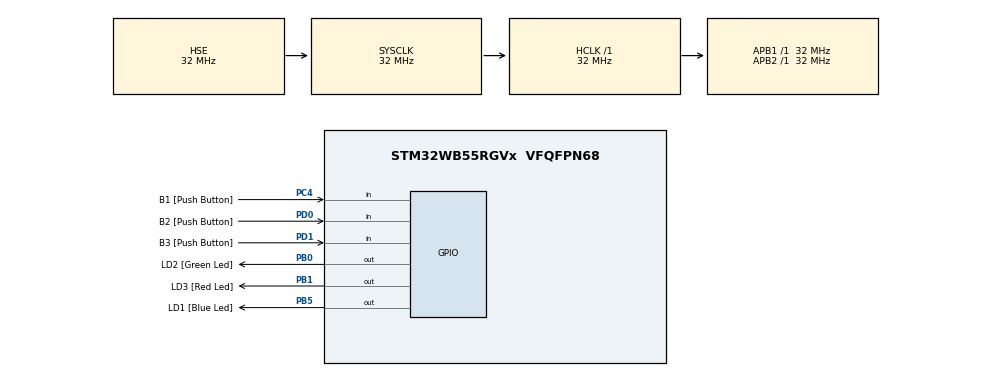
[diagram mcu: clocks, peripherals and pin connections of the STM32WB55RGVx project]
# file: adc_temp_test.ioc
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ADC1.Channel-0\#ChannelRegularConversion=ADC_CHANNEL_TEMPSENSOR
ADC1.NbrOfConversionFlag=1
ADC1.OffsetNumber-0\#ChannelRegularConversion=ADC_OFFSET_NONE
ADC1.Rank-0\#ChannelRegularConversion=1
ADC1.SamplingTime-0\#ChannelRegularConversion=ADC_SAMPLETIME_640CYCLES_5
ADC1.master=1
Mcu.Family=STM32WB
Mcu.Name=STM32WB55RGVx
Mcu.Package=VFQFPN68
NVIC.PriorityGroup=NVIC_PRIORITYGROUP_4
OSC_IN.GPIO_Label=RCC_OSC_IN
OSC_IN.Mode=HSE-External-Oscillator
OSC_IN.Signal=RCC_OSC_IN
OSC_OUT.GPIO_Label=RCC_OSC_OUT
OSC_OUT.Mode=HSE-External-Oscillator
OSC_OUT.Signal=RCC_OSC_OUT
PA11.GPIO_Label=USB_DM
PA11.Signal=USB_DM
PA12.GPIO_Label=USB_DP
PA12.Signal=USB_DP
PA13.GPIO_Label=JTMS
PA13.Mode=Serial_Wire
PA13.Signal=SYS_JTMS-SWDIO
PA14.GPIO_Label=JTCK
PA14.Mode=Serial_Wire
PA14.Signal=SYS_JTCK-SWCLK
PB0.GPIO_Label=LD2 [Green Led]
PB0.Signal=GPIO_Output
PB1.GPIO_Label=LD3 [Red Led]
PB1.Signal=GPIO_Output
PB3.GPIO_Label=JTDO
PB3.Signal=SYS_JTDO-SWO
PB5.GPIO_Label=LD1 [Blue Led]
PB5.Signal=GPIO_Output
PB6.GPIO_Label=STLINK_RX
PB6.Signal=USART1_TX
PB7.GPIO_Label=STLINK_TX
PB7.Signal=USART1_RX
PC13.GPIO_Label=SYS_WKUP2
PC13.Signal=SYS_WKUP2
PC14-OSC32_IN.GPIO_Label=RCC_OSC32_IN
PC14-OSC32_IN.Signal=RCC_OSC32_IN
PC15-OSC32_OUT.GPIO_Label=RCC_OSC32_OUT
PC15-OSC32_OUT.Signal=RCC_OSC32_OUT
PC4.GPIO_Label=B1 [Push Button]
PC4.Signal=GPIO_Input
PD0.GPIO_Label=B2 [Push Button]
PD0.Signal=GPIO_Input
PD1.GPIO_Label=B3 [Push Button]
PD1.Signal=GPIO_Input
ProjectManager.HeapSize=0x200
ProjectManager.StackSize=0x400
ProjectManager.TargetToolchain=STM32CubeIDE
RCC.ADCCLockSelection=RCC_ADCCLKSOURCE_SYSCLK
RCC.ADCFreq_Value=32000000
RCC.AHBFreq_Value=32000000
RCC.APB1Freq_Value=32000000
RCC.APB1TimFreq_Value=32000000
RCC.APB2Freq_Value=32000000
RCC.APB2TimFreq_Value=32000000
RCC.APB3Freq_Value=16000000
RCC.CortexFreq_Value=32000000
RCC.HCLKFreq_Value=32000000
RCC.HSE_VALUE=32000000
RCC.HSI48_VALUE=48000000
RCC.HSI_VALUE=16000000
RCC.LSE_VALUE=32768
RCC.MSIClockRange=RCC_MSIRANGE_10
RCC.PLLM=RCC_PLLM_DIV2
RCC.PLLSourceVirtual=RCC_PLLSOURCE_HSE
RCC.SMPSCLockSelection=RCC_SMPSCLKSOURCE_HSI
RCC.SMPSCLockSelectionVirtual=RCC_SMPSCLKSOURCE_HSI
RCC.SMPSCLockSelectionVirtualVirtual=RCC_SMPSCLKSOURCE_HSI
RCC.SMPSDivider=1
RCC.SYSCLKFreq_VALUE=32000000
RCC.SYSCLKSource=RCC_SYSCLKSOURCE_HSE
RCC.USBFreq_Value=64000000
RCC.VCOOutputFreq_Value=128000000
VP_ADC1_TempSens_Input.Mode=IN-TempSens
VP_MEMORYMAP_VS_MEMORYMAP.Mode=CurAppReg
board=NUCLEO-WB55RG

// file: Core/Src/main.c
/* USER CODE BEGIN Header */
/**
  ******************************************************************************
  * @file           : main.c
  * @brief          : Main program body
  ******************************************************************************
  * @attention
  *
  * Copyright (c) 2025 STMicroelectronics.
  * All rights reserved.
  *
  * This software is licensed under terms that can be found in the LICENSE file
  * in the root directory of this software component.
  * If no LICENSE file comes with this software, it is provided AS-IS.
  *
  ******************************************************************************
  */
/* USER CODE END Header */
#include "main.h"

/* USER CODE BEGIN PM */
#define N_SAMPLES 15
/* USER CODE END PM */

ADC_HandleTypeDef hadc1;

void SystemClock_Config(void);
void PeriphCommonClock_Config(void);
static void MX_GPIO_Init(void);
static void MX_ADC1_Init(void);

/* USER CODE BEGIN 0 */
uint16_t calculate_average(uint16_t* values,uint32_t len)
{
	int32_t sum=0;
	for (int i = 0; i < len; i++)
	{
		  sum+=values[i];
	}
	return (uint16_t)sum/len;
}

//int32_t calculate_temperature(uint16_t raw_value)
//{
////	const uint16_t* TS_CAL1_ADR = (uint16_t*)0x1FFF75A8;
////	const uint16_t* TS_CAL2_ADR = (uint16_t*)0x1FFF75CA;
////
////	const int32_t TS_CAL1 = (int32_t)(*TS_CAL1_ADR);
////	const int32_t TS_CAL2 = (int32_t)(*TS_CAL2_ADR);
////
////	const int32_t TS_CAL_1_TEMP = 30;
////	const int32_t TS_CAL2_TEMP = 110;
////
////	float shifted_value = (float)raw_value*3.3f/3.0f;
////
////	float nominator = (TS_CAL2_TEMP-TS_CAL_1_TEMP) * (shifted_value-TS_CAL1);
////	float denominator = TS_CAL2 - TS_CAL1;
////
////	int32_t temp = (int32_t)(nominator/denominator + (float)TS_CAL_1_TEMP);
////	return temp;
//
//}

int32_t calculate_temperature(uint16_t raw_value)
{
	uint16_t temp_mv = (3000*raw_value)/4096;
	int32_t retval = (int32_t)(1.22f*temp_mv-785)/2.5f + 30;
	return retval;

}

/* USER CODE END 0 */

int main(void)
{

  /* USER CODE BEGIN 1 */
	uint16_t raw_values[N_SAMPLES] = {0};

	//HAL_ADCEx_Calibration_Start(&hadc1, ADC_SINGLE_ENDED);

  /* USER CODE END 1 */

  /* MCU Configuration--------------------------------------------------------*/

  /* Reset of all peripherals, Initializes the Flash interface and the Systick. */
  HAL_Init();

  /* Configure the system clock */
  SystemClock_Config();

  /* Configure the peripherals common clocks */
  PeriphCommonClock_Config();

  /* Initialize all configured peripherals */
  MX_GPIO_Init();
  MX_ADC1_Init();

  /* Infinite loop */
  /* USER CODE BEGIN WHILE */
  while (1)
  {
	  for (int i = 0; i < N_SAMPLES; i++)
	  {
		  HAL_ADC_Start(&hadc1);
		  HAL_ADC_PollForConversion(&hadc1, HAL_MAX_DELAY);
		  raw_values[i] = HAL_ADC_GetValue(&hadc1);
		  HAL_ADC_Stop(&hadc1);
	  }
	  uint16_t average = calculate_average(raw_values,N_SAMPLES);
	  int32_t temperature = calculate_temperature(average);

    /* USER CODE END WHILE */

  }
}

void SystemClock_Config(void)
{
  RCC_OscInitTypeDef RCC_OscInitStruct = {0};
  RCC_ClkInitTypeDef RCC_ClkInitStruct = {0};

  /** Configure the main internal regulator output voltage
  */
  __HAL_PWR_VOLTAGESCALING_CONFIG(PWR_REGULATOR_VOLTAGE_SCALE1);

  /** Initializes the RCC Oscillators according to the specified parameters
  * in the RCC_OscInitTypeDef structure.
  */
  RCC_OscInitStruct.OscillatorType = RCC_OSCILLATORTYPE_HSI|RCC_OSCILLATORTYPE_HSE;
  RCC_OscInitStruct.HSEState = RCC_HSE_ON;
  RCC_OscInitStruct.HSIState = RCC_HSI_ON;
  RCC_OscInitStruct.HSICalibrationValue = RCC_HSICALIBRATION_DEFAULT;
  RCC_OscInitStruct.PLL.PLLState = RCC_PLL_NONE;
  if (HAL_RCC_OscConfig(&RCC_OscInitStruct) != HAL_OK)
  {
    Error_Handler();
  }

  /** Configure the SYSCLKSource, HCLK, PCLK1 and PCLK2 clocks dividers
  */
  RCC_ClkInitStruct.ClockType = RCC_CLOCKTYPE_HCLK4|RCC_CLOCKTYPE_HCLK2
                              |RCC_CLOCKTYPE_HCLK|RCC_CLOCKTYPE_SYSCLK
                              |RCC_CLOCKTYPE_PCLK1|RCC_CLOCKTYPE_PCLK2;
  RCC_ClkInitStruct.SYSCLKSource = RCC_SYSCLKSOURCE_HSE;
  RCC_ClkInitStruct.AHBCLKDivider = RCC_SYSCLK_DIV1;
  RCC_ClkInitStruct.APB1CLKDivider = RCC_HCLK_DIV1;
  RCC_ClkInitStruct.APB2CLKDivider = RCC_HCLK_DIV1;
  RCC_ClkInitStruct.AHBCLK2Divider = RCC_SYSCLK_DIV1;
  RCC_ClkInitStruct.AHBCLK4Divider = RCC_SYSCLK_DIV1;

  if (HAL_RCC_ClockConfig(&RCC_ClkInitStruct, FLASH_LATENCY_1) != HAL_OK)
  {
    Error_Handler();
  }
}

void PeriphCommonClock_Config(void)
{
  RCC_PeriphCLKInitTypeDef PeriphClkInitStruct = {0};

  /** Initializes the peripherals clock
  */
  PeriphClkInitStruct.PeriphClockSelection = RCC_PERIPHCLK_SMPS;
  PeriphClkInitStruct.SmpsClockSelection = RCC_SMPSCLKSOURCE_HSI;
  PeriphClkInitStruct.SmpsDivSelection = RCC_SMPSCLKDIV_RANGE0;

  if (HAL_RCCEx_PeriphCLKConfig(&PeriphClkInitStruct) != HAL_OK)
  {
    Error_Handler();
  }
}

static void MX_ADC1_Init(void)
{

  ADC_ChannelConfTypeDef sConfig = {0};

  /** Common config
  */
  hadc1.Instance = ADC1;
  hadc1.Init.ClockPrescaler = ADC_CLOCK_ASYNC_DIV1;
  hadc1.Init.Resolution = ADC_RESOLUTION_12B;
  hadc1.Init.DataAlign = ADC_DATAALIGN_RIGHT;
  hadc1.Init.ScanConvMode = ADC_SCAN_DISABLE;
  hadc1.Init.EOCSelection = ADC_EOC_SINGLE_CONV;
  hadc1.Init.LowPowerAutoWait = DISABLE;
  hadc1.Init.ContinuousConvMode = DISABLE;
  hadc1.Init.NbrOfConversion = 1;
  hadc1.Init.DiscontinuousConvMode = DISABLE;
  hadc1.Init.ExternalTrigConv = ADC_SOFTWARE_START;
  hadc1.Init.ExternalTrigConvEdge = ADC_EXTERNALTRIGCONVEDGE_NONE;
  hadc1.Init.DMAContinuousRequests = DISABLE;
  hadc1.Init.Overrun = ADC_OVR_DATA_PRESERVED;
  hadc1.Init.OversamplingMode = DISABLE;
  if (HAL_ADC_Init(&hadc1) != HAL_OK)
  {
    Error_Handler();
  }

  /** Configure Regular Channel
  */
  sConfig.Channel = ADC_CHANNEL_TEMPSENSOR;
  sConfig.Rank = ADC_REGULAR_RANK_1;
  sConfig.SamplingTime = ADC_SAMPLETIME_640CYCLES_5;
  sConfig.SingleDiff = ADC_SINGLE_ENDED;
  sConfig.OffsetNumber = ADC_OFFSET_NONE;
  sConfig.Offset = 0;
  if (HAL_ADC_ConfigChannel(&hadc1, &sConfig) != HAL_OK)
  {
    Error_Handler();
  }

}

static void MX_GPIO_Init(void)
{
  GPIO_InitTypeDef GPIO_InitStruct = {0};

  /* GPIO Ports Clock Enable */
  __HAL_RCC_GPIOC_CLK_ENABLE();
  __HAL_RCC_GPIOB_CLK_ENABLE();
  __HAL_RCC_GPIOA_CLK_ENABLE();
  __HAL_RCC_GPIOD_CLK_ENABLE();

  /*Configure GPIO pin Output Level */
  HAL_GPIO_WritePin(GPIOB, LD2_Pin|LD3_Pin|LD1_Pin, GPIO_PIN_RESET);

  /*Configure GPIO pin : B1_Pin */
  GPIO_InitStruct.Pin = B1_Pin;
  GPIO_InitStruct.Mode = GPIO_MODE_INPUT;
  GPIO_InitStruct.Pull = GPIO_NOPULL;
  HAL_GPIO_Init(B1_GPIO_Port, &GPIO_InitStruct);

  /*Configure GPIO pins : LD2_Pin LD3_Pin LD1_Pin */
  GPIO_InitStruct.Pin = LD2_Pin|LD3_Pin|LD1_Pin;
  GPIO_InitStruct.Mode = GPIO_MODE_OUTPUT_PP;
  GPIO_InitStruct.Pull = GPIO_NOPULL;
  GPIO_InitStruct.Speed = GPIO_SPEED_FREQ_LOW;
  HAL_GPIO_Init(GPIOB, &GPIO_InitStruct);

  /*Configure GPIO pins : USB_DM_Pin USB_DP_Pin */
  GPIO_InitStruct.Pin = USB_DM_Pin|USB_DP_Pin;
  GPIO_InitStruct.Mode = GPIO_MODE_AF_PP;
  GPIO_InitStruct.Pull = GPIO_NOPULL;
  GPIO_InitStruct.Speed = GPIO_SPEED_FREQ_LOW;
  GPIO_InitStruct.Alternate = GPIO_AF10_USB;
  HAL_GPIO_Init(GPIOA, &GPIO_InitStruct);

  /*Configure GPIO pins : B2_Pin B3_Pin */
  GPIO_InitStruct.Pin = B2_Pin|B3_Pin;
  GPIO_InitStruct.Mode = GPIO_MODE_INPUT;
  GPIO_InitStruct.Pull = GPIO_NOPULL;
  HAL_GPIO_Init(GPIOD, &GPIO_InitStruct);

  /*Configure GPIO pins : STLINK_RX_Pin STLINK_TX_Pin */
  GPIO_InitStruct.Pin = STLINK_RX_Pin|STLINK_TX_Pin;
  GPIO_InitStruct.Mode = GPIO_MODE_AF_PP;
  GPIO_InitStruct.Pull = GPIO_NOPULL;
  GPIO_InitStruct.Speed = GPIO_SPEED_FREQ_LOW;
  GPIO_InitStruct.Alternate = GPIO_AF7_USART1;
  HAL_GPIO_Init(GPIOB, &GPIO_InitStruct);

}

void Error_Handler(void)
{
  __disable_irq();
  while (1)
  {
  }
}
